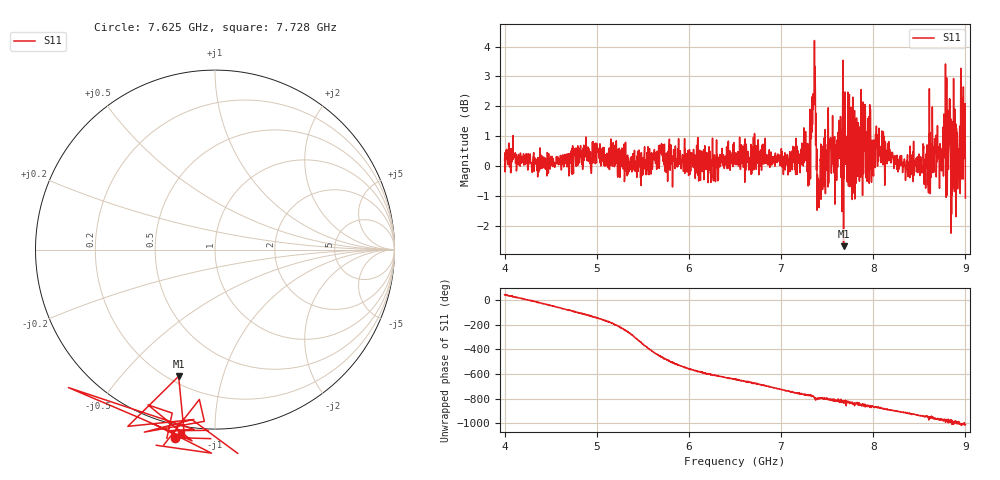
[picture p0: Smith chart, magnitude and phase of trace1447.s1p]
! Created with skrf 1.8.0 (http://scikit-rf.org).
# Hz S RI R 50.0
!freq ReS11 ImS11
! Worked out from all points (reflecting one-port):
!   1601 points, 4 GHz to 9 GHz, reference 50 ohm
!   lowest |S11| = -2.7 dB at 7.678 GHz (marker M1), VSWR 6.54, Z = 11.8 - j36.3 ohm
!   phase of S11 starts at 43 deg and turns -1052 deg over the sweep
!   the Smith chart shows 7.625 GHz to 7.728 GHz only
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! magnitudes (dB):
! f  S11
! 4 GHz  0.2
! 4.625 GHz  0.1
! 4.988 GHz  0.8
! 5.25 GHz  -0.4
! 5.875 GHz  0.0
! 6.5 GHz  0.2
! 7.125 GHz  0.2
! 7.294 GHz  -0.7
! 7.347 GHz  1.9
! 7.362 GHz  4.2
! 7.409 GHz  -0.8
! 7.538 GHz  1.0
! 7.591 GHz  0.7
! 7.647 GHz  1.6
! 7.678 GHz  -2.7
! 7.75 GHz  -0.5
! 7.784 GHz  -0.8
! 7.891 GHz  0.8
! 7.981 GHz  -0.5
! 8.05 GHz  1.0
! 8.375 GHz  -0.2
! 8.575 GHz  0.4
! 8.656 GHz  0.6
! 8.728 GHz  0.1
! 8.816 GHz  -0.1
! 8.869 GHz  -0.7
! 8.972 GHz  0.6
! 9 GHz  -1.1
